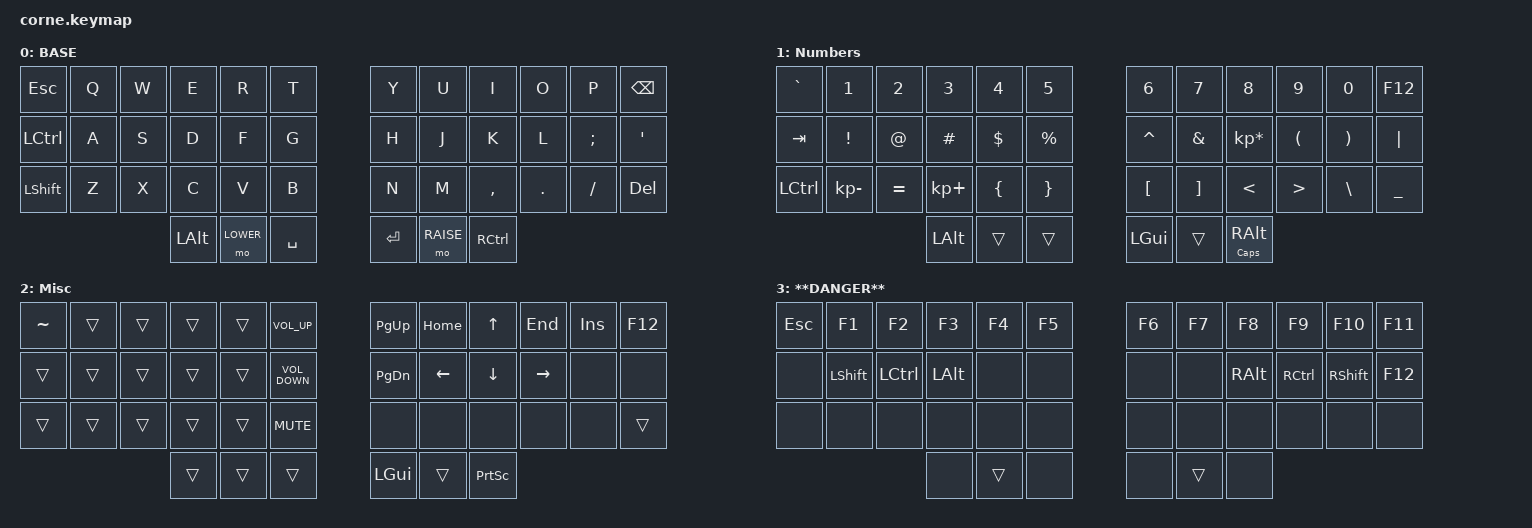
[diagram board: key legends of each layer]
/*
 * Copyright (c) 2020 The ZMK Contributors
 *
 * SPDX-License-Identifier: MIT
 */

#include <behaviors.dtsi>
#include <dt-bindings/zmk/keys.h>
#include <dt-bindings/zmk/bt.h>
#include <dt-bindings/zmk/outputs.h>

#define COMBO_TIMEOUT 60

#define DEFAULT 0
#define LOWER   1
#define RAISE   2
#define DANGER  3

/ {
    // add easter egg
    macros {
        smiley: smiley {
            label = "EASTER_SMILEY";
            compatible = "zmk,behavior-macro";
            #binding-cells = <0>;
            bindings
                = <&macro_tap &kp COLON &kp RPAR>
                ;
        };
    };

    // Activate DANGER layer by pressing raise and lower
    conditional_layers {
        compatible = "zmk,conditional-layers";
        adjust_layer {
            if-layers = <LOWER RAISE>;
            then-layer = <DANGER>;
        };
    };
};

// disabled due to interupting on hold
// / {
//     combos {
//         compatible = "zmk,combos";
        
//         combo_undo {
//             timeout-ms = <COMBO_TIMEOUT>;
//             key-positions = <25 26>;
//             bindings = <&kp LC(Z)>;
//         };

//         combo_copy {
//             timeout-ms = <COMBO_TIMEOUT>;
//             key-positions = <26 27>;
//             bindings = <&kp LC(C)>;
//         };

//         combo_paste {
//             timeout-ms = <COMBO_TIMEOUT>;
//             key-positions = <27 28>;
//             bindings = <&kp LC(V)>;
//         };

//  	    combo_tilde {
//             timeout-ms = <COMBO_TIMEOUT>;
//             key-positions = <0 1>;
//             bindings = <&kp TILDE>;
//         };

//     };
// }; 

&kscan0 {
	debounce-period = <20>;
	};

/ {
	behaviors {
    };
   };

/ {
        keymap {
                compatible = "zmk,keymap";

                default_layer {
// -----------------------------------------------------------------------------------------
// |  Q  |  W  |  E  |  R  |  T  |   |  Y  |  U   |  I  |  O  |  P  | BSPC
// |  A  |  S  |  D  |  F  |  G  |   |  H  |  J   |  K  |  L  |  ;  | SQT
// |  Z  |  X  |  C  |  V  |  B  |   |  N  |  M   |  ,  |  .  |  /  | DELETE
//             | ALT | LWR | ENT |   | SPC | RSE  | CTL |
                        bindings = <
&kp ESC   &kp Q  &kp W    &kp E     &kp R     &kp T                            &kp Y       &kp U       &kp I       &kp O    &kp P    &kp BSPC
&kp LCTRL &kp A  &kp S    &kp D     &kp F     &kp G                           &kp H       &kp J       &kp K       &kp L    &kp SEMI &kp SQT
&kp LSHFT &kp Z  &kp X    &kp C     &kp V     &kp B                           &kp N       &kp M       &kp COMMA   &kp DOT  &kp FSLH &kp DELETE
                                    &kp LALT  &mo LOWER &kp SPACE &kp RET     &mo RAISE   &kp RCTRL
                        >;
		label = "BASE";
                };

                lower_layer {
                        bindings = <

&kp GRAVE   &kp N1         &kp N2        &kp N3      &kp N4      &kp N5                          &kp N6      &kp N7      &kp N8          &kp N9      &kp N0    &kp F12
&kp TAB     &kp EXCL       &kp AT        &kp HASH    &kp DLLR    &kp PRCNT                       &kp CARET   &kp AMPS    &kp KP_MULTIPLY &kp LPAR    &kp RPAR  &kp PIPE
&kp LCTRL   &kp KP_MINUS   &kp EQUAL  &kp KP_PLUS &kp LBRC    &kp RBRC                        &kp LBKT    &kp RBKT    &kp LT          &kp GT      &kp BSLH  &kp UNDER
                                                     &kp LALT      &trans      &trans  &kp LGUI  &trans      &mt CAPS RALT
                        >;
		label = "Numbers";
                };  

                raise_layer {
                        bindings = <
&kp TILDE &trans       &trans      &trans      &trans      &kp C_VOLUME_UP                           &kp PAGE_UP      &kp HOME        &kp UP          &kp END         &kp INS          &kp F12
&trans &trans       &trans      &trans      &trans      &kp C_VOLUME_DOWN                         &kp PAGE_DOWN    &kp LEFT        &kp DOWN        &kp RIGHT       &none          &none 
&trans &trans       &trans      &trans      &trans      &kp C_MUTE                                &none            &none           &none           &none           &none          &trans 
                                            &trans      &trans              &trans  &kp LGUI      &trans                 &kp PSCRN
                        >;
		label = "Misc";
		};
		

		danger_layer {
            bindings = <
&kp ESC     &kp F1          &kp F2          &kp F3          &kp F4          &kp F5                                &kp F6          &kp F7          &kp F8          &kp F9          &kp F10         &kp F11
&none       &kp LSHFT       &kp LCTRL       &kp LALT        &none           &none                                 &none           &none           &kp RALT        &kp RCTRL       &kp RSHFT       &kp F12
&none       &none           &none           &none           &none           &none                                 &none           &none           &none           &none           &none           &none
                                                            &none           &trans              &none  &none      &trans          &none
            >;
                label = "**DANGER**";
		        };
        };
};
